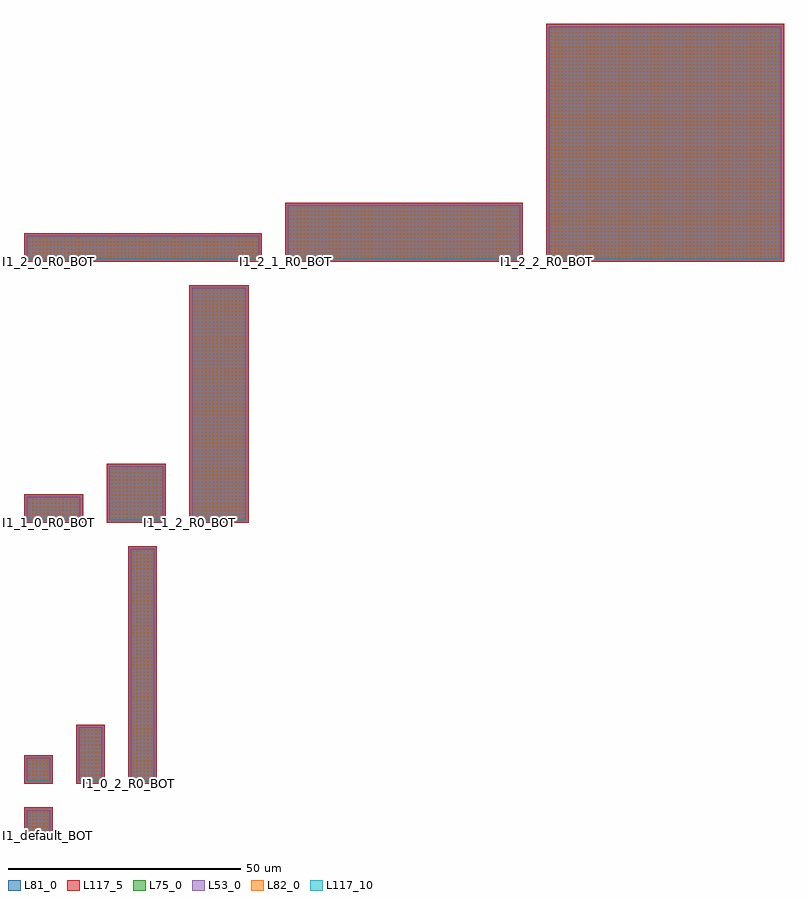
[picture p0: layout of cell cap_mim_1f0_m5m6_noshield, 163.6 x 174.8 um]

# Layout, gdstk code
import gdstk
lib = gdstk.Library(unit=1e-6, precision=1e-09)
def R(c, l, rs):  # rectangles x0, y0, x1, y1
    for r in rs: c.add(gdstk.rectangle(r[:2], r[2:], *l))
def A(c, l, x, y, w, h, nx, ny, dx, dy):  # array of equal rectangles
    R(c, l, [(x+i*dx, y+j*dy, x+i*dx+w, y+j*dy+h) for i in range(nx) for j in range(ny)])
L53_0 = (53, 0)
L75_0 = (75, 0)
L81_0 = (81, 0)
L82_0 = (82, 0)
L117_5 = (117, 5)
L117_10 = (117, 10)

cap_mim_1p0ff_cdns_63097 = lib.new_cell('cap_mim_1p0fF_CDNS_630979865270')
R(cap_mim_1p0ff_cdns_63097, L53_0, [(0,0,5,5)])
R(cap_mim_1p0ff_cdns_63097, L75_0, [(0,0,5,5)])
R(cap_mim_1p0ff_cdns_63097, L81_0, [(-0.6,-0.6,5.6,5.6)])
A(cap_mim_1p0ff_cdns_63097, L82_0, 0.4, 0.4, 0.26, 0.26, 4, 4, 0.79, 0.79)
A(cap_mim_1p0ff_cdns_63097, L82_0, 3.555, 0.4, 0.26, 0.26, 1, 4, 0, 0.79)
A(cap_mim_1p0ff_cdns_63097, L82_0, 4.34, 0.4, 0.26, 0.26, 1, 4, 0, 0.79)
A(cap_mim_1p0ff_cdns_63097, L82_0, 0.4, 3.555, 0.26, 0.26, 4, 2, 0.79, 0.785)
R(cap_mim_1p0ff_cdns_63097, L82_0, [(3.555,3.555,3.815,3.815), (4.34,3.555,4.6,3.815), (3.555,4.34,3.815,4.6), (4.34,4.34,4.6,4.6)])
R(cap_mim_1p0ff_cdns_63097, L117_5, [(-0.6,-0.6,5.6,5.6)])
R(cap_mim_1p0ff_cdns_63097, L117_10, [(0,0,5,0.1)])
cap_mim_1p0ff_cdns_63097.add(gdstk.Label('BOT', (2.5,2.5), layer=81, texttype=0))
cap_mim_1p0ff_cdns_63097.add(gdstk.Label('TOP', (2.5,2.5), layer=53, texttype=0))

c_cap_mim_1p0ff_cdns_63097 = lib.new_cell('cap_mim_1p0fF_CDNS_630979865271')
R(c_cap_mim_1p0ff_cdns_63097, L53_0, [(0,0,5,5)])
R(c_cap_mim_1p0ff_cdns_63097, L75_0, [(0,0,5,5)])
R(c_cap_mim_1p0ff_cdns_63097, L81_0, [(-0.6,-0.6,5.6,5.6)])
A(c_cap_mim_1p0ff_cdns_63097, L82_0, 0.4, 0.4, 0.26, 0.26, 4, 4, 0.79, 0.79)
A(c_cap_mim_1p0ff_cdns_63097, L82_0, 3.555, 0.4, 0.26, 0.26, 1, 4, 0, 0.79)
A(c_cap_mim_1p0ff_cdns_63097, L82_0, 4.34, 0.4, 0.26, 0.26, 1, 4, 0, 0.79)
A(c_cap_mim_1p0ff_cdns_63097, L82_0, 0.4, 3.555, 0.26, 0.26, 4, 2, 0.79, 0.785)
R(c_cap_mim_1p0ff_cdns_63097, L82_0, [(3.555,3.555,3.815,3.815), (4.34,3.555,4.6,3.815), (3.555,4.34,3.815,4.6), (4.34,4.34,4.6,4.6)])
R(c_cap_mim_1p0ff_cdns_63097, L117_5, [(-0.6,-0.6,5.6,5.6)])
R(c_cap_mim_1p0ff_cdns_63097, L117_10, [(0,0,5,0.1)])
c_cap_mim_1p0ff_cdns_63097.add(gdstk.Label('BOT', (2.5,2.5), layer=81, texttype=0))
c_cap_mim_1p0ff_cdns_63097.add(gdstk.Label('TOP', (2.5,2.5), layer=53, texttype=0))

c_cap_mim_1p0ff_cdns_63097_ = lib.new_cell('cap_mim_1p0fF_CDNS_630979865272')
R(c_cap_mim_1p0ff_cdns_63097_, L53_0, [(0,0,5,11.56)])
R(c_cap_mim_1p0ff_cdns_63097_, L75_0, [(0,0,5,11.56)])
R(c_cap_mim_1p0ff_cdns_63097_, L81_0, [(-0.6,-0.6,5.6,12.16)])
A(c_cap_mim_1p0ff_cdns_63097_, L82_0, 0.4, 0.4, 0.26, 0.26, 4, 8, 0.79, 0.81)
A(c_cap_mim_1p0ff_cdns_63097_, L82_0, 3.555, 0.4, 0.26, 0.26, 1, 8, 0, 0.81)
A(c_cap_mim_1p0ff_cdns_63097_, L82_0, 4.34, 0.4, 0.26, 0.26, 1, 8, 0, 0.81)
A(c_cap_mim_1p0ff_cdns_63097_, L82_0, 0.4, 6.875, 0.26, 0.26, 4, 6, 0.79, 0.805)
A(c_cap_mim_1p0ff_cdns_63097_, L82_0, 3.555, 6.875, 0.26, 0.26, 1, 6, 0, 0.805)
A(c_cap_mim_1p0ff_cdns_63097_, L82_0, 4.34, 6.875, 0.26, 0.26, 1, 6, 0, 0.805)
R(c_cap_mim_1p0ff_cdns_63097_, L117_5, [(-0.6,-0.6,5.6,12.16)])
R(c_cap_mim_1p0ff_cdns_63097_, L117_10, [(0,0,5,0.1)])
c_cap_mim_1p0ff_cdns_63097_.add(gdstk.Label('BOT', (2.5,5.78), layer=81, texttype=0))
c_cap_mim_1p0ff_cdns_63097_.add(gdstk.Label('TOP', (2.5,5.78), layer=53, texttype=0))

c_cap_mim_1p0ff_cdns_63097__ = lib.new_cell('cap_mim_1p0fF_CDNS_630979865273')
R(c_cap_mim_1p0ff_cdns_63097__, L53_0, [(0,0,5,50)])
R(c_cap_mim_1p0ff_cdns_63097__, L75_0, [(0,0,5,50)])
R(c_cap_mim_1p0ff_cdns_63097__, L81_0, [(-0.6,-0.6,5.6,50.6)])
A(c_cap_mim_1p0ff_cdns_63097__, L82_0, 0.4, 0.4, 0.26, 0.26, 4, 61, 0.79, 0.765)
A(c_cap_mim_1p0ff_cdns_63097__, L82_0, 3.555, 0.4, 0.26, 0.26, 1, 61, 0, 0.765)
A(c_cap_mim_1p0ff_cdns_63097__, L82_0, 4.34, 0.4, 0.26, 0.26, 1, 61, 0, 0.765)
A(c_cap_mim_1p0ff_cdns_63097__, L82_0, 0.4, 47.06, 0.26, 0.26, 4, 4, 0.79, 0.76)
A(c_cap_mim_1p0ff_cdns_63097__, L82_0, 3.555, 47.06, 0.26, 0.26, 1, 4, 0, 0.76)
A(c_cap_mim_1p0ff_cdns_63097__, L82_0, 4.34, 47.06, 0.26, 0.26, 1, 4, 0, 0.76)
R(c_cap_mim_1p0ff_cdns_63097__, L117_5, [(-0.6,-0.6,5.6,50.6)])
R(c_cap_mim_1p0ff_cdns_63097__, L117_10, [(0,0,5,0.1)])
c_cap_mim_1p0ff_cdns_63097__.add(gdstk.Label('BOT', (2.5,25), layer=81, texttype=0))
c_cap_mim_1p0ff_cdns_63097__.add(gdstk.Label('TOP', (2.5,25), layer=53, texttype=0))

c_cap_mim_1p0ff_cdns_63097___ = lib.new_cell('cap_mim_1p0fF_CDNS_630979865274')
R(c_cap_mim_1p0ff_cdns_63097___, L53_0, [(0,0,11.56,5)])
R(c_cap_mim_1p0ff_cdns_63097___, L75_0, [(0,0,11.56,5)])
R(c_cap_mim_1p0ff_cdns_63097___, L81_0, [(-0.6,-0.6,12.16,5.6)])
A(c_cap_mim_1p0ff_cdns_63097___, L82_0, 0.4, 0.4, 0.26, 0.26, 8, 4, 0.81, 0.79)
A(c_cap_mim_1p0ff_cdns_63097___, L82_0, 6.875, 0.4, 0.26, 0.26, 6, 4, 0.805, 0.79)
A(c_cap_mim_1p0ff_cdns_63097___, L82_0, 0.4, 3.555, 0.26, 0.26, 8, 2, 0.81, 0.785)
A(c_cap_mim_1p0ff_cdns_63097___, L82_0, 6.875, 3.555, 0.26, 0.26, 6, 2, 0.805, 0.785)
R(c_cap_mim_1p0ff_cdns_63097___, L117_5, [(-0.6,-0.6,12.16,5.6)])
R(c_cap_mim_1p0ff_cdns_63097___, L117_10, [(0,0,11.56,0.1)])
c_cap_mim_1p0ff_cdns_63097___.add(gdstk.Label('BOT', (5.78,2.5), layer=81, texttype=0))
c_cap_mim_1p0ff_cdns_63097___.add(gdstk.Label('TOP', (5.78,2.5), layer=53, texttype=0))

c_cap_mim_1p0ff_cdns_63097____ = lib.new_cell('cap_mim_1p0fF_CDNS_630979865275')
R(c_cap_mim_1p0ff_cdns_63097____, L53_0, [(0,0,11.56,11.56)])
R(c_cap_mim_1p0ff_cdns_63097____, L75_0, [(0,0,11.56,11.56)])
R(c_cap_mim_1p0ff_cdns_63097____, L81_0, [(-0.6,-0.6,12.16,12.16)])
A(c_cap_mim_1p0ff_cdns_63097____, L82_0, 0.4, 0.4, 0.26, 0.26, 8, 8, 0.81, 0.81)
A(c_cap_mim_1p0ff_cdns_63097____, L82_0, 6.875, 0.4, 0.26, 0.26, 6, 8, 0.805, 0.81)
A(c_cap_mim_1p0ff_cdns_63097____, L82_0, 0.4, 6.875, 0.26, 0.26, 8, 6, 0.81, 0.805)
A(c_cap_mim_1p0ff_cdns_63097____, L82_0, 6.875, 6.875, 0.26, 0.26, 6, 6, 0.805, 0.805)
R(c_cap_mim_1p0ff_cdns_63097____, L117_5, [(-0.6,-0.6,12.16,12.16)])
R(c_cap_mim_1p0ff_cdns_63097____, L117_10, [(0,0,11.56,0.1)])
c_cap_mim_1p0ff_cdns_63097____.add(gdstk.Label('BOT', (5.78,5.78), layer=81, texttype=0))
c_cap_mim_1p0ff_cdns_63097____.add(gdstk.Label('TOP', (5.78,5.78), layer=53, texttype=0))

c_cap_mim_1p0ff_cdns_63097_____ = lib.new_cell('cap_mim_1p0fF_CDNS_630979865276')
R(c_cap_mim_1p0ff_cdns_63097_____, L53_0, [(0,0,11.56,50)])
R(c_cap_mim_1p0ff_cdns_63097_____, L75_0, [(0,0,11.56,50)])
R(c_cap_mim_1p0ff_cdns_63097_____, L81_0, [(-0.6,-0.6,12.16,50.6)])
A(c_cap_mim_1p0ff_cdns_63097_____, L82_0, 0.4, 0.4, 0.26, 0.26, 8, 61, 0.81, 0.765)
A(c_cap_mim_1p0ff_cdns_63097_____, L82_0, 6.875, 0.4, 0.26, 0.26, 6, 61, 0.805, 0.765)
A(c_cap_mim_1p0ff_cdns_63097_____, L82_0, 0.4, 47.06, 0.26, 0.26, 8, 4, 0.81, 0.76)
A(c_cap_mim_1p0ff_cdns_63097_____, L82_0, 6.875, 47.06, 0.26, 0.26, 6, 4, 0.805, 0.76)
R(c_cap_mim_1p0ff_cdns_63097_____, L117_5, [(-0.6,-0.6,12.16,50.6)])
R(c_cap_mim_1p0ff_cdns_63097_____, L117_10, [(0,0,11.56,0.1)])
c_cap_mim_1p0ff_cdns_63097_____.add(gdstk.Label('BOT', (5.78,25), layer=81, texttype=0))
c_cap_mim_1p0ff_cdns_63097_____.add(gdstk.Label('TOP', (5.78,25), layer=53, texttype=0))

c_cap_mim_1p0ff_cdns_63097______ = lib.new_cell('cap_mim_1p0fF_CDNS_630979865277')
R(c_cap_mim_1p0ff_cdns_63097______, L53_0, [(0,0,50,5)])
R(c_cap_mim_1p0ff_cdns_63097______, L75_0, [(0,0,50,5)])
R(c_cap_mim_1p0ff_cdns_63097______, L81_0, [(-0.6,-0.6,50.6,5.6)])
A(c_cap_mim_1p0ff_cdns_63097______, L82_0, 0.4, 0.4, 0.26, 0.26, 61, 4, 0.765, 0.79)
A(c_cap_mim_1p0ff_cdns_63097______, L82_0, 47.06, 0.4, 0.26, 0.26, 4, 4, 0.76, 0.79)
A(c_cap_mim_1p0ff_cdns_63097______, L82_0, 0.4, 3.555, 0.26, 0.26, 61, 2, 0.765, 0.785)
A(c_cap_mim_1p0ff_cdns_63097______, L82_0, 47.06, 3.555, 0.26, 0.26, 4, 2, 0.76, 0.785)
R(c_cap_mim_1p0ff_cdns_63097______, L117_5, [(-0.6,-0.6,50.6,5.6)])
R(c_cap_mim_1p0ff_cdns_63097______, L117_10, [(0,0,50,0.1)])
c_cap_mim_1p0ff_cdns_63097______.add(gdstk.Label('BOT', (25,2.5), layer=81, texttype=0))
c_cap_mim_1p0ff_cdns_63097______.add(gdstk.Label('TOP', (25,2.5), layer=53, texttype=0))

c_cap_mim_1p0ff_cdns_63097_______ = lib.new_cell('cap_mim_1p0fF_CDNS_630979865278')
R(c_cap_mim_1p0ff_cdns_63097_______, L53_0, [(0,0,50,11.56)])
R(c_cap_mim_1p0ff_cdns_63097_______, L75_0, [(0,0,50,11.56)])
R(c_cap_mim_1p0ff_cdns_63097_______, L81_0, [(-0.6,-0.6,50.6,12.16)])
A(c_cap_mim_1p0ff_cdns_63097_______, L82_0, 0.4, 0.4, 0.26, 0.26, 61, 8, 0.765, 0.81)
A(c_cap_mim_1p0ff_cdns_63097_______, L82_0, 47.06, 0.4, 0.26, 0.26, 4, 8, 0.76, 0.81)
A(c_cap_mim_1p0ff_cdns_63097_______, L82_0, 0.4, 6.875, 0.26, 0.26, 61, 6, 0.765, 0.805)
A(c_cap_mim_1p0ff_cdns_63097_______, L82_0, 47.06, 6.875, 0.26, 0.26, 4, 6, 0.76, 0.805)
R(c_cap_mim_1p0ff_cdns_63097_______, L117_5, [(-0.6,-0.6,50.6,12.16)])
R(c_cap_mim_1p0ff_cdns_63097_______, L117_10, [(0,0,50,0.1)])
c_cap_mim_1p0ff_cdns_63097_______.add(gdstk.Label('BOT', (25,5.78), layer=81, texttype=0))
c_cap_mim_1p0ff_cdns_63097_______.add(gdstk.Label('TOP', (25,5.78), layer=53, texttype=0))

c_cap_mim_1p0ff_cdns_63097________ = lib.new_cell('cap_mim_1p0fF_CDNS_630979865279')
R(c_cap_mim_1p0ff_cdns_63097________, L53_0, [(0,0,50,50)])
R(c_cap_mim_1p0ff_cdns_63097________, L75_0, [(0,0,50,50)])
R(c_cap_mim_1p0ff_cdns_63097________, L81_0, [(-0.6,-0.6,50.6,50.6)])
A(c_cap_mim_1p0ff_cdns_63097________, L82_0, 0.4, 0.4, 0.26, 0.26, 61, 61, 0.765, 0.765)
A(c_cap_mim_1p0ff_cdns_63097________, L82_0, 47.06, 0.4, 0.26, 0.26, 4, 61, 0.76, 0.765)
A(c_cap_mim_1p0ff_cdns_63097________, L82_0, 0.4, 47.06, 0.26, 0.26, 61, 4, 0.765, 0.76)
A(c_cap_mim_1p0ff_cdns_63097________, L82_0, 47.06, 47.06, 0.26, 0.26, 4, 4, 0.76, 0.76)
R(c_cap_mim_1p0ff_cdns_63097________, L117_5, [(-0.6,-0.6,50.6,50.6)])
R(c_cap_mim_1p0ff_cdns_63097________, L117_10, [(0,0,50,0.1)])
c_cap_mim_1p0ff_cdns_63097________.add(gdstk.Label('BOT', (25,25), layer=81, texttype=0))
c_cap_mim_1p0ff_cdns_63097________.add(gdstk.Label('TOP', (25,25), layer=53, texttype=0))

cap_mim_1f0_m5m6_noshiel = lib.new_cell('cap_mim_1f0_m5m6_noshield')
cap_mim_1f0_m5m6_noshiel.add(gdstk.Reference(cap_mim_1p0ff_cdns_63097, (0.6,0.6)))
cap_mim_1f0_m5m6_noshiel.add(gdstk.Reference(c_cap_mim_1p0ff_cdns_63097, (0.6,11.8)))
cap_mim_1f0_m5m6_noshiel.add(gdstk.Reference(c_cap_mim_1p0ff_cdns_63097_, (11.8,11.8)))
cap_mim_1f0_m5m6_noshiel.add(gdstk.Reference(c_cap_mim_1p0ff_cdns_63097__, (23,11.8)))
cap_mim_1f0_m5m6_noshiel.add(gdstk.Reference(c_cap_mim_1p0ff_cdns_63097___, (0.6,68)))
cap_mim_1f0_m5m6_noshiel.add(gdstk.Reference(c_cap_mim_1p0ff_cdns_63097____, (18.4,68)))
cap_mim_1f0_m5m6_noshiel.add(gdstk.Reference(c_cap_mim_1p0ff_cdns_63097_____, (36.2,68)))
cap_mim_1f0_m5m6_noshiel.add(gdstk.Reference(c_cap_mim_1p0ff_cdns_63097______, (0.6,124.2)))
cap_mim_1f0_m5m6_noshiel.add(gdstk.Reference(c_cap_mim_1p0ff_cdns_63097_______, (56.8,124.2)))
cap_mim_1f0_m5m6_noshiel.add(gdstk.Reference(c_cap_mim_1p0ff_cdns_63097________, (113,124.2)))
cap_mim_1f0_m5m6_noshiel.add(gdstk.Label('I1_2_2_R0_BOT', (112.425,123.625), layer=81, texttype=10))
cap_mim_1f0_m5m6_noshiel.add(gdstk.Label('I1_2_1_R0_BOT', (56.225,123.625), layer=81, texttype=10))
cap_mim_1f0_m5m6_noshiel.add(gdstk.Label('I1_2_0_R0_BOT', (0.025,123.625), layer=81, texttype=10))
cap_mim_1f0_m5m6_noshiel.add(gdstk.Label('I1_1_2_R0_BOT', (35.625,67.425), layer=81, texttype=10))
cap_mim_1f0_m5m6_noshiel.add(gdstk.Label('I1_1_1_R0_BOT', (17.825,67.425), layer=81, texttype=10))
cap_mim_1f0_m5m6_noshiel.add(gdstk.Label('I1_1_0_R0_BOT', (0.025,67.425), layer=81, texttype=10))
cap_mim_1f0_m5m6_noshiel.add(gdstk.Label('I1_0_2_R0_BOT', (22.425,11.225), layer=81, texttype=10))
cap_mim_1f0_m5m6_noshiel.add(gdstk.Label('I1_0_1_R0_BOT', (11.225,11.225), layer=81, texttype=10))
cap_mim_1f0_m5m6_noshiel.add(gdstk.Label('I1_0_0_R0_BOT', (0.025,11.225), layer=81, texttype=10))
cap_mim_1f0_m5m6_noshiel.add(gdstk.Label('I1_default_BOT', (0.025,0.025), layer=81, texttype=10))
cap_mim_1f0_m5m6_noshiel.add(gdstk.Label('I1_2_2_R0_TOP', (113.025,124.225), layer=53, texttype=10))
cap_mim_1f0_m5m6_noshiel.add(gdstk.Label('I1_2_1_R0_TOP', (56.825,124.225), layer=53, texttype=10))
cap_mim_1f0_m5m6_noshiel.add(gdstk.Label('I1_2_0_R0_TOP', (0.625,124.225), layer=53, texttype=10))
cap_mim_1f0_m5m6_noshiel.add(gdstk.Label('I1_1_2_R0_TOP', (36.225,68.025), layer=53, texttype=10))
cap_mim_1f0_m5m6_noshiel.add(gdstk.Label('I1_1_1_R0_TOP', (18.425,68.025), layer=53, texttype=10))
cap_mim_1f0_m5m6_noshiel.add(gdstk.Label('I1_1_0_R0_TOP', (0.625,68.025), layer=53, texttype=10))
cap_mim_1f0_m5m6_noshiel.add(gdstk.Label('I1_0_2_R0_TOP', (23.025,11.825), layer=53, texttype=10))
cap_mim_1f0_m5m6_noshiel.add(gdstk.Label('I1_0_1_R0_TOP', (11.825,11.825), layer=53, texttype=10))
cap_mim_1f0_m5m6_noshiel.add(gdstk.Label('I1_0_0_R0_TOP', (0.625,11.825), layer=53, texttype=10))
cap_mim_1f0_m5m6_noshiel.add(gdstk.Label('I1_default_TOP', (0.625,0.625), layer=53, texttype=10))

lib.write_gds('cap_mim_1f0_m5m6_noshield.gds')
